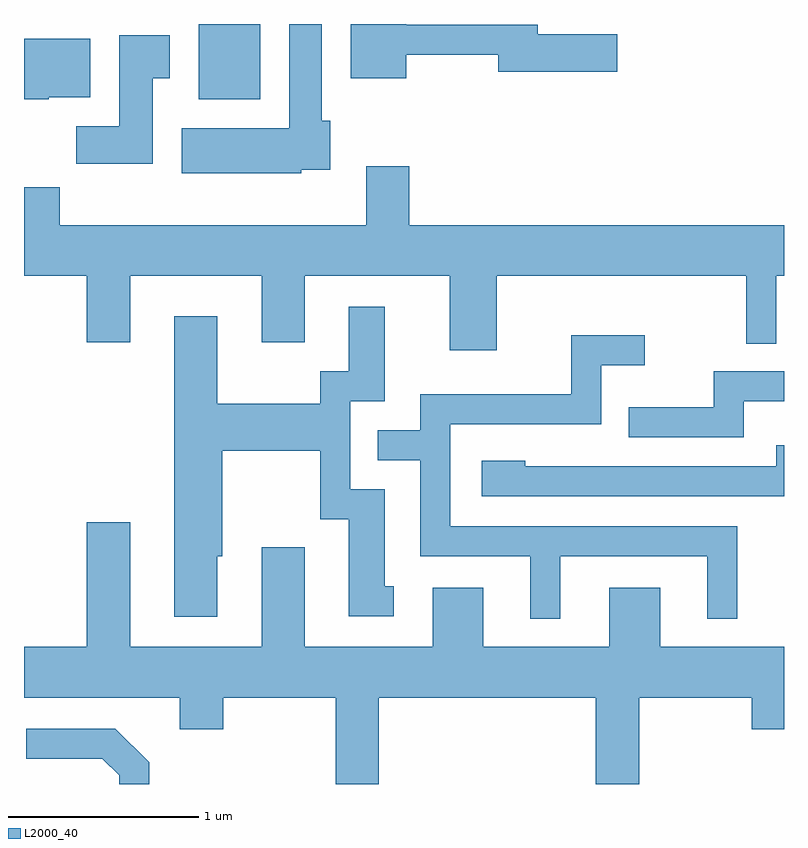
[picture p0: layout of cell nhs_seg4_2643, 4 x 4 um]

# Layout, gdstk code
import gdstk
lib = gdstk.Library(unit=1e-6, precision=1e-09)
def R(c, l, rs):  # rectangles x0, y0, x1, y1
    for r in rs: c.add(gdstk.rectangle(r[:2], r[2:], *l))
def P(c, l, *ps):  # polygons
    for p in ps: c.add(gdstk.Polygon(p, *l))
L2000_40 = (2000, 40)

nhs_seg4_2643 = lib.new_cell('nhs_seg4_2643')
R(nhs_seg4_2643, L2000_40, [(262.531,1375.586,262.854,1375.982)])
P(nhs_seg4_2643, L2000_40, [(263.069,1375.216),(263.224,1375.216),(263.224,1375.474),(263.179,1375.474),(263.179,1375.982),(263.006,1375.982),(263.006,1375.434),(262.441,1375.434),(262.441,1375.196),(263.069,1375.196)],
  [(263.624,1375.821),(264.106,1375.821),(264.106,1375.731),(264.734,1375.731),(264.734,1375.929),(264.314,1375.929),(264.314,1375.979),(263.624,1375.979),(263.624,1375.982),(263.331,1375.982),(263.331,1375.696),(263.624,1375.696)],
  [(262.289,1375.696),(262.379,1375.696),(262.379,1375.924),(262.111,1375.924),(262.111,1375.444),(261.886,1375.444),(261.886,1375.246),(262.289,1375.246)],
  [(261.74,1375.596),(261.959,1375.596),(261.959,1375.904),(261.611,1375.904),(261.611,1375.586),(261.74,1375.586)],
  [(264.099,1374.656),(265.411,1374.656),(265.411,1374.298),(265.569,1374.298),(265.569,1374.656),(265.611,1374.656),(265.611,1374.924),(263.639,1374.924),(263.639,1375.234),(263.411,1375.234),(263.411,1374.924),(261.799,1374.924),(261.799,1375.124),(261.611,1375.124),(261.611,1374.656),(261.941,1374.656),(261.941,1374.306),(262.169,1374.306),(262.169,1374.656),(262.861,1374.656),(262.861,1374.306),(263.089,1374.306),(263.089,1374.656),(263.851,1374.656),(263.851,1374.266),(264.099,1374.266)],
  [(262.629,1373.181),(262.654,1373.181),(262.654,1373.736),(263.171,1373.736),(263.171,1373.376),(263.321,1373.376),(263.321,1372.866),(263.558,1372.866),(263.558,1373.024),(263.509,1373.024),(263.509,1373.534),(263.329,1373.534),(263.329,1373.996),(263.509,1373.996),(263.509,1374.494),(263.321,1374.494),(263.321,1374.154),(263.171,1374.154),(263.171,1373.984),(262.629,1373.984),(262.629,1374.444),(262.401,1374.444),(262.401,1372.861),(262.629,1372.861)],
  [(264.434,1373.181),(265.206,1373.181),(265.206,1372.853),(265.364,1372.853),(265.364,1373.339),(263.854,1373.339),(263.854,1373.876),(264.649,1373.876),(264.649,1374.186),(264.878,1374.186),(264.878,1374.344),(264.491,1374.344),(264.491,1374.034),(263.696,1374.034),(263.696,1373.844),(263.473,1373.844),(263.473,1373.686),(263.696,1373.686),(263.696,1373.181),(264.276,1373.181),(264.276,1372.853),(264.434,1372.853)],
  [(265.399,1373.996),(265.611,1373.996),(265.611,1374.154),(265.241,1374.154),(265.241,1373.964),(264.793,1373.964),(264.793,1373.806),(265.399,1373.806)],
  [(265.611,1373.764),(265.571,1373.764),(265.571,1373.654),(264.249,1373.654),(264.249,1373.684),(264.021,1373.684),(264.021,1373.496),(265.611,1373.496)],
  [(263.479,1372.436),(264.621,1372.436),(264.621,1371.982),(264.849,1371.982),(264.849,1372.436),(265.441,1372.436),(265.441,1372.271),(265.611,1372.271),(265.611,1372.704),(264.959,1372.704),(264.959,1373.014),(264.691,1373.014),(264.691,1372.704),(264.029,1372.704),(264.029,1373.014),(263.761,1373.014),(263.761,1372.704),(263.089,1372.704),(263.089,1373.229),(262.861,1373.229),(262.861,1372.704),(262.169,1372.704),(262.169,1373.359),(261.941,1373.359),(261.941,1372.704),(261.611,1372.704),(261.611,1372.436),(262.431,1372.436),(262.431,1372.271),(262.659,1372.271),(262.659,1372.436),(263.251,1372.436),(263.251,1371.982),(263.479,1371.982)],
  [(262.269,1372.097),(262.092,1372.274),(261.623,1372.274),(261.623,1372.116),(262.024,1372.116),(262.111,1372.029),(262.111,1371.982),(262.269,1371.982)])

lib.write_gds('nhs_seg4_2643.gds')
